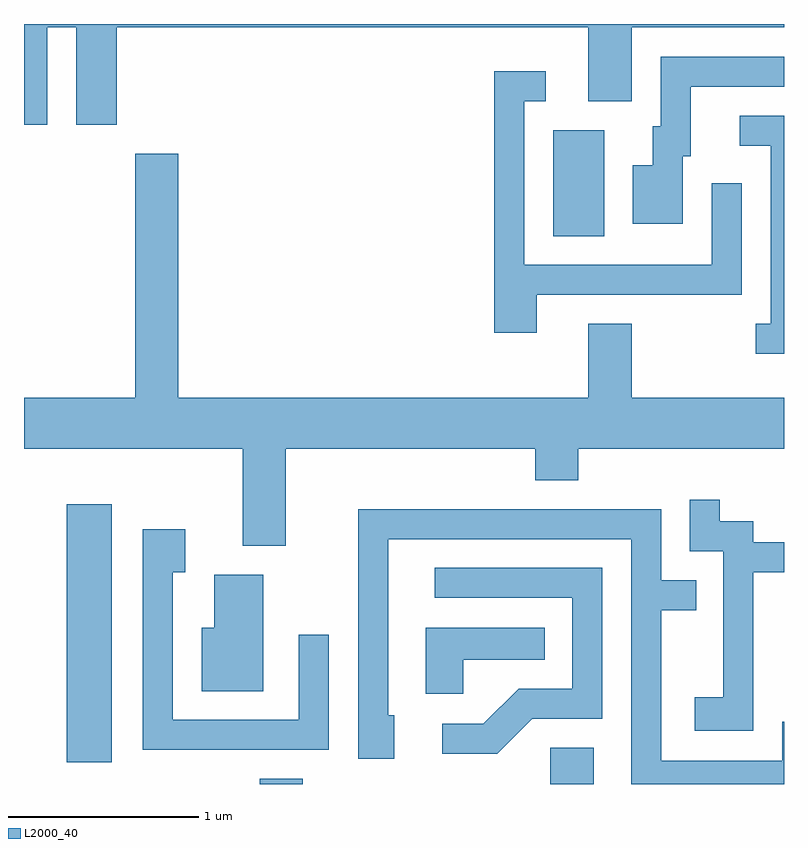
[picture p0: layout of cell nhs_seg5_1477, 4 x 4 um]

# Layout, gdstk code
import gdstk
lib = gdstk.Library(unit=1e-6, precision=1e-09)
def R(c, l, rs):  # rectangles x0, y0, x1, y1
    for r in rs: c.add(gdstk.rectangle(r[:2], r[2:], *l))
def P(c, l, *ps):  # polygons
    for p in ps: c.add(gdstk.Polygon(p, *l))
L2000_40 = (2000, 40)

nhs_seg5_1477 = lib.new_cell('nhs_seg5_1477')
R(nhs_seg5_1477, L2000_40, [(228.851,1526.072,229.079,1526.099), (230.381,1526.072,230.609,1526.264), (227.836,1526.186,228.074,1527.544), (230.396,1528.956,230.664,1529.514)])
P(nhs_seg5_1477, L2000_40, [(227.734,1530.056),(227.886,1530.056),(227.886,1529.541),(228.099,1529.541),(228.099,1530.056),(230.581,1530.056),(230.581,1529.666),(230.809,1529.666),(230.809,1530.056),(231.611,1530.056),(231.611,1530.072),(227.611,1530.072),(227.611,1529.541),(227.734,1529.541)],
  [(231.079,1529.376),(231.119,1529.376),(231.119,1529.741),(231.611,1529.741),(231.611,1529.899),(230.961,1529.899),(230.961,1529.534),(230.921,1529.534),(230.921,1529.329),(230.816,1529.329),(230.816,1529.021),(231.079,1529.021)],
  [(230.309,1528.646),(231.389,1528.646),(231.389,1529.233),(231.231,1529.233),(231.231,1528.804),(230.244,1528.804),(230.244,1529.666),(230.358,1529.666),(230.358,1529.824),(230.086,1529.824),(230.086,1528.446),(230.309,1528.446)],
  [(231.611,1529.589),(231.378,1529.589),(231.378,1529.431),(231.541,1529.431),(231.541,1528.494),(231.463,1528.494),(231.463,1528.336),(231.611,1528.336)],
  [(228.989,1527.836),(230.301,1527.836),(230.301,1527.671),(230.529,1527.671),(230.529,1527.836),(231.611,1527.836),(231.611,1528.104),(230.809,1528.104),(230.809,1528.494),(230.581,1528.494),(230.581,1528.104),(228.424,1528.104),(228.424,1529.389),(228.196,1529.389),(228.196,1528.104),(227.611,1528.104),(227.611,1527.836),(228.761,1527.836),(228.761,1527.326),(228.989,1527.326)],
  [(231.449,1527.186),(231.611,1527.186),(231.611,1527.344),(231.449,1527.344),(231.449,1527.454),(231.274,1527.454),(231.274,1527.568),(231.116,1527.568),(231.116,1527.296),(231.291,1527.296),(231.291,1526.529),(231.141,1526.529),(231.141,1526.351),(231.449,1526.351)],
  [(231.611,1526.399),(231.601,1526.399),(231.601,1526.194),(230.964,1526.194),(230.964,1526.986),(231.148,1526.986),(231.148,1527.144),(230.964,1527.144),(230.964,1527.519),(229.371,1527.519),(229.371,1526.206),(229.559,1526.206),(229.559,1526.434),(229.529,1526.434),(229.529,1527.361),(230.806,1527.361),(230.806,1526.072),(231.611,1526.072)],
  [(229.214,1526.858),(229.056,1526.858),(229.056,1526.409),(228.394,1526.409),(228.394,1527.186),(228.459,1527.186),(228.459,1527.414),(228.236,1527.414),(228.236,1526.251),(229.214,1526.251)],
  [(230.287,1526.416),(230.654,1526.416),(230.654,1527.209),(229.773,1527.209),(229.773,1527.051),(230.496,1527.051),(230.496,1526.574),(230.214,1526.574),(230.029,1526.389),(229.813,1526.389),(229.813,1526.231),(230.102,1526.231)],
  [(228.869,1527.174),(228.611,1527.174),(228.611,1526.894),(228.546,1526.894),(228.546,1526.561),(228.869,1526.561)],
  [(229.924,1526.726),(230.353,1526.726),(230.353,1526.894),(229.726,1526.894),(229.726,1526.546),(229.924,1526.546)])

lib.write_gds('nhs_seg5_1477.gds')
